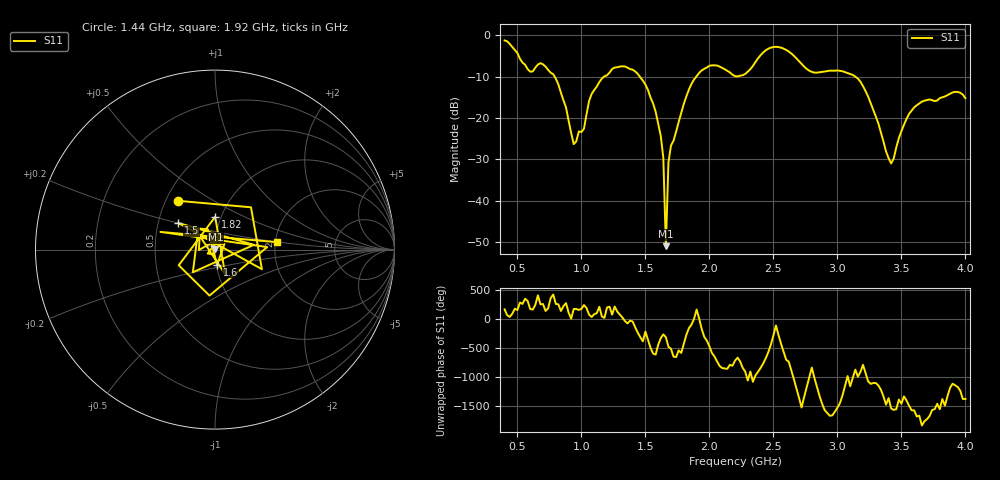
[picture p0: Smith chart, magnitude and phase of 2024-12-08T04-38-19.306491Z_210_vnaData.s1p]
!Created with skrf (http://scikit-rf.org).
# Hz S RI R 50.0
!freq ReS11 ImS11
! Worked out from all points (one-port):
!   181 points, 400 MHz to 4 GHz, reference 50 ohm
!   lowest |S11| = -50.9 dB at 1.66 GHz (marker M1), VSWR 1.01, Z = 50.2 + j0.21 ohm
!   |S11| at or under -10 dB: 790.6 MHz to 1.177 GHz (386.8 MHz wide, 39.3 % of centre); 1.456 GHz to 1.898 GHz (442.2 MHz wide, 26.4 % of centre); 3.139 GHz to end of sweep
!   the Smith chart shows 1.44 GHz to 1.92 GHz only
!   S11 on the Smith chart (normalised r, x): 1.44 GHz: 0.58, +0.36; 1.5 GHz: 0.63, +0.20; 1.6 GHz: 1.01, -0.17; 1.82 GHz: 0.94, +0.35; 1.92 GHz: 2.05, +0.19
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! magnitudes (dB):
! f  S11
! 400 MHz  -1.3
! 600 MHz  -8.8
! 680 MHz  -6.8
! 780 MHz  -9.4
! 860 MHz  -15.8
! 940 MHz  -26.3
! 1.02 GHz  -22.6
! 1.08 GHz  -14.2
! 1.3 GHz  -7.6
! 1.44 GHz  -9.3
! 1.5 GHz  -11.9
! 1.6 GHz  -21.4
! 1.64 GHz  -29.6
! 1.66 GHz  -50.9
! 1.68 GHz  -30.7
! 1.76 GHz  -20.9
! 1.82 GHz  -14.8
! 1.92 GHz  -9.1
! 2.2 GHz  -9.9
! 2.48 GHz  -3.0
! 2.66 GHz  -5.0
! 2.8 GHz  -8.9
! 3.1 GHz  -9.4
! 3.24 GHz  -14.8
! 3.42 GHz  -31.0
! 3.56 GHz  -19.0
! 3.9 GHz  -13.8
! 4 GHz  -15.2
